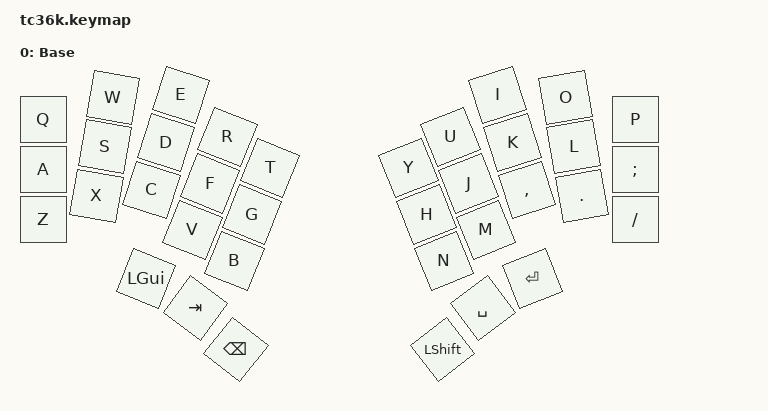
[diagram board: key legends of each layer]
#include <behaviors.dtsi>
#include <dt-bindings/zmk/keys.h>

/ {
    keymap {
        compatible = "zmk,keymap";

        default_layer { // Layer 0
            display-name = "Base";
            bindings = <
                &kp Q &kp W &kp E    &kp R   &kp T    &kp Y     &kp U     &kp I     &kp O      &kp P
                &kp A &kp S &kp D    &kp F   &kp G    &kp H     &kp J     &kp K     &kp L      &kp SEMI
                &kp Z &kp X &kp C    &kp V   &kp B    &kp N     &kp M     &kp COMMA &kp DOT    &kp SLASH
                            &kp LGUI &kp TAB &kp BSPC &kp LSHFT &kp SPACE &kp RET
            >;
        };

        // Empty layers for ZMK Studio:
        extra1 {
            status = "reserved";
        };
        extra2 {
            status = "reserved";
        };
        extra3 {
            status = "reserved";
        };
        extra4 {
            status = "reserved";
        };
        extra5 {
            status = "reserved";
        };
    };
};

/ {
    combos {
        compatible = "zmk,combos";

        // Top left (Q) + top right (P) = &studio_unlock
        combo_studio_unlock {
            timeout-ms = <100>;
            key-positions = <0 9>;
            bindings = <&studio_unlock>;
        };

        // Inner corners (T, Y, B, N) = &bootloader
        combo_bootloader {
            timeout-ms = <300>;
            key-positions = <4 5 24 25>;
            bindings = <&bootloader>;
            layers = <0>;
        };
    };
};
